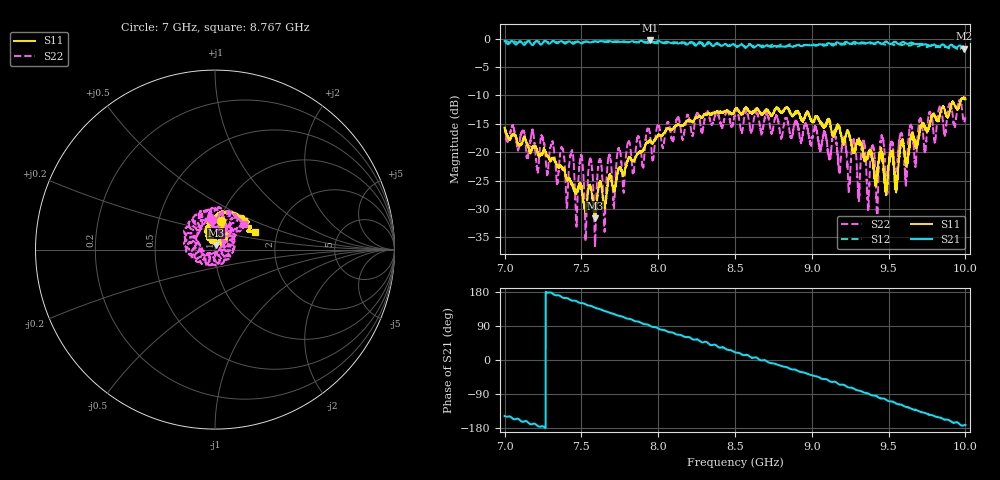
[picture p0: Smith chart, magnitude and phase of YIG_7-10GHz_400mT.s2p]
#  HZ  S  RI  R  50.0
! Rohde & Schwarz ZVL13 2Ports - Version 3.31 - 1303.6509k13 SN: 101088
! Date: 2023-03-06 15:35:13
! Data & Calibration Information:
! Trc4:S11(TOSM) Trc2:S21(TOSM) Trc3:S12(TOSM) Trc5:S22(TOSM)
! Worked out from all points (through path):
!   4000 points, 7 GHz to 10 GHz, reference 50 ohm
!   highest |S21| = -0.33 dB at 7.945 GHz (marker M1); lowest = -1.8 dB at 9.989 GHz (marker M2)
!   group delay of S21, straight-line fit = 357 ps
!   lowest |S11| = -31.7 dB at 7.587 GHz (marker M3), VSWR 1.05, Z = 50.5 + j2.58 ohm
!   |S11| at or under -10 dB: start of sweep to end of sweep
!   |S22| runs from -36.6 to -10.8 dB; largest |S21 - S12| = 0.11
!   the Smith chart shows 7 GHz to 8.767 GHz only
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7e9  0.0345 0.1609  -0.8038 -0.5089  -0.7625 -0.549  -0.0166 0.1646
7.374344e9  0.0494 0.0527  -0.9114 0.239  -0.9128 0.2261  0.1059 0.0351
7.405851e9  0.0402 0.0428  -0.8841 0.2611  -0.8953 0.2713  0.037 -0.00207
7.435859e9  0.035 0.0407  -0.8454 0.3573  -0.8637 0.35  0.1004 -0.00595
7.467367e9  0.0317 0.0326  -0.8482 0.3909  -0.8481 0.4014  0.0216 -0.00405
7.500375e9  0.0208 0.047  -0.785 0.4529  -0.8016 0.4704  0.0841 -0.041
7.528132e9  0.0131 0.0276  -0.788 0.5178  -0.7817 0.5218  0.0122 -0.0143
7.56114e9  0.00657 0.0471  -0.7367 0.5613  -0.7298 0.5776  0.0437 -0.0725
7.586647e9  0.00547 0.0255  -0.7077 0.628  -0.7012 0.6273  0.00976 -0.0149
7.618905e9  -0.00465 0.0537  -0.6621 0.6759  -0.6466 0.6719  -0.00212 -0.0858
7.651163e9  -0.0062 0.0312  -0.5965 0.7272  -0.5943 0.729  -0.00875 -0.0181
7.68042e9  -0.0132 0.0589  -0.5504 0.7763  -0.5486 0.7568  -0.0432 -0.0831
7.711928e9  -0.0222 0.0408  -0.4888 0.8041  -0.4786 0.8039  -0.0231 -0.0266
7.742686e9  -0.0241 0.0683  -0.4209 0.8409  -0.4358 0.8307  -0.0802 -0.0739
7.774194e9  -0.0342 0.0534  -0.3732 0.8673  -0.359 0.8557  -0.0367 -0.0282
7.945236e9  -0.0306 0.1205  -0.012 0.9621  -0.035 0.9243  -0.1473 -0.0253
8e9  -0.0379 0.1367  0.1107 0.9473  0.0778 0.9137  -0.1714 0.0381
8.500375e9  0.1492 0.183  0.8196 0.3007  0.8093 0.3036  0.0372 0.2167
9e9  0.189 0.0185  0.6678 -0.5649  0.6797 -0.5729  0.1255 -0.016
9.500375e9  0.0758 0.00861  -0.292 -0.8595  -0.2564 -0.8595  -0.0702 0.0266
9.989497e9  0.2743 0.114  -0.8079 -0.1062  -0.8362 -0.1319  0.0587 0.1749
1e10  0.265 0.1202  -0.8217 -0.123  -0.8026 -0.0926  0.1236 0.1615
